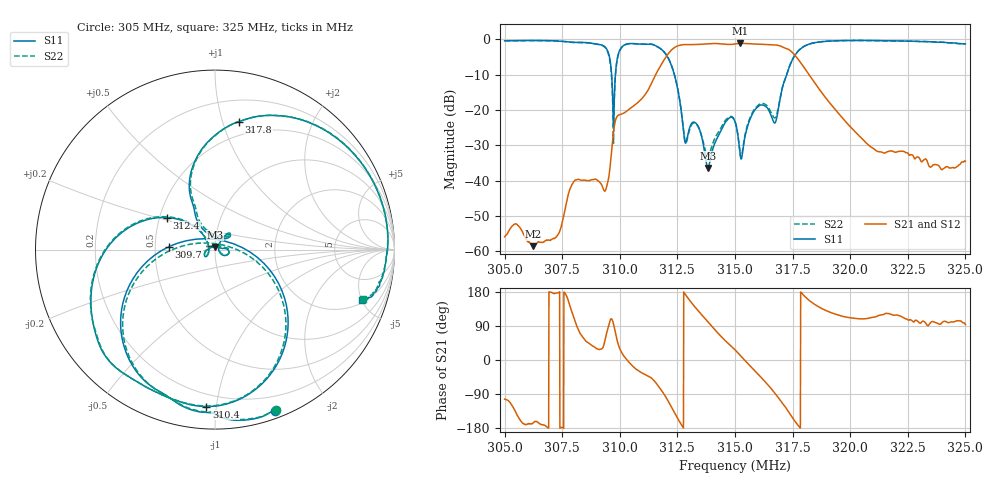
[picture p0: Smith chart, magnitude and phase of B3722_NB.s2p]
! Matrix data file written by TouchstoneData, EPCOS AG
! FILENAME: "B3722_SB.s2p"
! COMMENT: "PCB: 2016; PINNING: 25; PORTEXT1: 82ps; PORT"
! INFO: nport=2, nfreq=1601
! DATE: "Thu Jul  3 11:45:09 2008"
! USER: "Thomas Telgmann"
! port | pin | signal
!  1  |  2  |  in
!  2  |  5  |  out
# MHZ S MA R 50
! freq  magS11 angS11  magS21 angS21  magS12 angS12  magS22 angS22
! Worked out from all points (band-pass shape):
!   1601 points, 305 MHz to 325 MHz, reference 50 ohm
!   highest |S21| = -1.08 dB at 315.2 MHz (marker M1); lowest = -58.5 dB at 306.2 MHz (marker M2)
!   |S21| within 3 dB of the highest: 312.1 MHz to 317.5 MHz (5.448 MHz wide, 1.73 % of centre)
!   lowest |S11| = -36.4 dB at 313.8 MHz (marker M3), VSWR 1.03, Z = 49.9 + j1.52 ohm
!   |S11| at or under -10 dB: 309.645 MHz to 309.8097 MHz (164.7 kHz wide, 0.0532 % of centre); 312.4 MHz to 317.2 MHz (4.871 MHz wide, 1.55 % of centre)
!   |S22| runs from -33.4 to -0.3 dB; largest |S21 - S12| = 0.0012
!   S11 on the Smith chart (normalised r, x): 305 MHz: 0.06, -1.44; 309.7 MHz: 0.59, +0.02; 310.4 MHz: 0.13, -0.94; 312.4 MHz: 0.55, +0.22; 317.8 MHz: 0.38, +1.13; 325 MHz: 2.28, -5.03
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305  0.9588 -69.6  0.001614 -103.0  0.001608 -102.6  0.9545 -69.2
306.2375  0.9681 -76.0  0.001189 -166.2  0.001194 -165.8  0.9652 -75.7
307.275  0.9526 -84.5  0.001655 176.9  0.001652 177.2  0.9507 -84.1
308.3375  0.9087 -94.9  0.01014 65.0  0.01013 65.4  0.9049 -94.6
309.375  0.7731 -128.6  0.007294 57.5  0.007297 57.6  0.7614 -129.1
309.6625  0.2571 176.3  0.03116 107.0  0.03102 107.1  0.2294 179.1
309.9125  0.5804 -45.4  0.08359 45.4  0.08325 45.6  0.5684 -45.9
310.4375  0.8758 -93.1  0.1051 -8.5  0.1048 -8.2  0.8725 -92.7
311.675  0.775 -152.5  0.3748 -69.0  0.3749 -68.9  0.7767 -152.4
312.3625  0.3228 146.4  0.7636 -137.7  0.7637 -137.7  0.324 145.6
312.85  0.03411 178.4  0.8469 172.6  0.8466 172.7  0.03459 171.6
313.325  0.06424 -155.5  0.8484 135.3  0.8484 135.4  0.06279 -158.9
313.825  0.01522 92.6  0.8703 100.6  0.8702 100.7  0.02202 91.3
315  0.06863 -28.3  0.8647 26.9  0.8641 26.9  0.06936 -25.3
315.2375  0.022 -11.9  0.8832 11.2  0.8826 11.2  0.02253 -5.0
315.975  0.1103 49.7  0.858 -35.6  0.8576 -35.5  0.1147 52.4
316.675  0.06813 63.5  0.8399 -83.3  0.8399 -83.2  0.07949 65.4
317.35  0.4027 110.7  0.7146 -139.1  0.7147 -139.1  0.4045 109.7
317.825  0.7263 79.3  0.4816 -178.8  0.4811 -178.9  0.7296 79.0
318.3375  0.8815 53.3  0.2763 151.9  0.2755 151.8  0.8833 53.3
321.675  0.9553 -2.8  0.02613 122.4  0.02599 122.5  0.9549 -2.4
325  0.8644 -18.8  0.019 94.0  0.01891 94.1  0.8683 -18.3
